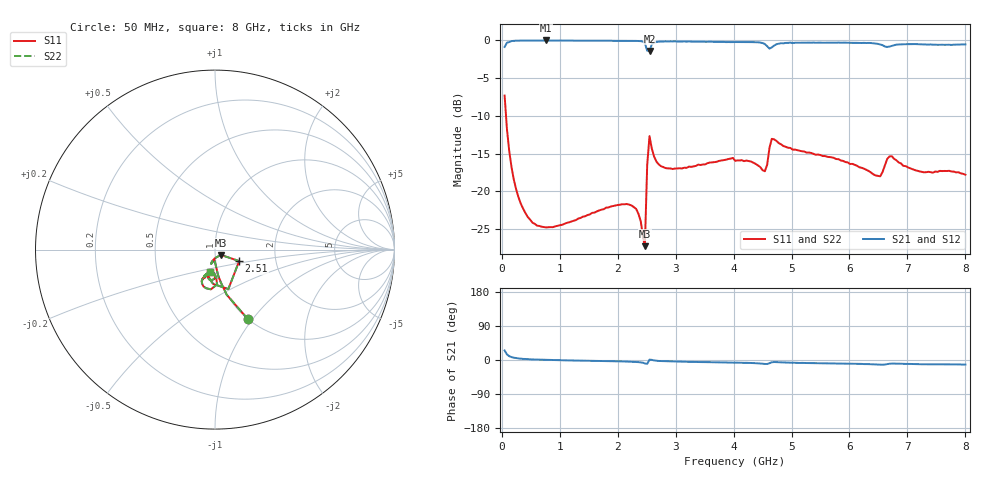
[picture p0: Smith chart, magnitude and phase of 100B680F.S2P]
!  American Technical Ceramics  Date:  3/13/98
!  One Norden Lane
!  Huntington Station,  NY.  11746-2102
!  Tel:  (516) 547-5700  Fax:  (516) 547-5748
!  Part Number  100b680f
!  Description: Porcelain, High Q, Low ESR
!  Application: Bypass, Coupling, Timing, Feedback
!  Tuning, Impedance Match, Blocking
# GHZ S DB R 50
! Freq  |S11|  S11 Ph  |S21|  S21 Ph  |S12|  S12 Ph  |S22|  S22 Ph
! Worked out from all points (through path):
!   201 points, 50 MHz to 8 GHz, reference 50 ohm
!   highest |S21| = 0.00 dB at 770 MHz (marker M1); lowest = -1.4 dB at 2.55 GHz (marker M2)
!   group delay of S21, straight-line fit = 5.41 ps
!   lowest |S11| = -27.3 dB at 2.47 GHz (marker M3), VSWR 1.09, Z = 53.2 - j3.12 ohm
!   |S11| at or under -10 dB: 74.29 MHz to end of sweep
!   |S22| runs from -27.3 to -7.3 dB; largest |S21 - S12| = 0
!   S11 on the Smith chart (normalised r, x): 50 MHz: 1.00, -0.95; 2.51 GHz: 1.30, -0.17; 8 GHz: 0.92, -0.23
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0.05  -7.31 -64.6  -0.86 25.2  -0.86 25.2  -7.31 -64.6
0.13  -14.69 -80.0  -0.21 10.1  -0.21 10.1  -14.69 -80.0
0.29  -20.82 -87.2  -0.04 4.2  -0.04 4.2  -20.82 -87.2
0.53  -24.17 -91.7  -0.02 1.4  -0.02 1.4  -24.17 -91.7
0.77  -24.80 -94.1  0.00 0.2  0.00 0.2  -24.80 -94.1
1.4  -23.38 -100.0  -0.03 -1.7  -0.03 -1.7  -23.38 -100.0
2.24  -21.89 -105.4  -0.05 -4.6  -0.05 -4.6  -21.89 -105.4
2.36  -23.01 -104.5  -0.08 -5.6  -0.08 -5.6  -23.01 -104.5
2.47  -27.29 -42.7  -0.36 -9.1  -0.36 -9.1  -27.29 -42.7
2.51  -16.54 -25.4  -1.35 -10.2  -1.35 -10.2  -16.54 -25.4
2.55  -12.69 -71.3  -1.40 0.9  -1.40 0.9  -12.69 -71.3
2.59  -14.35 -93.0  -0.51 0.4  -0.51 0.4  -14.35 -93.0
2.71  -16.45 -104.0  -0.17 -2.6  -0.17 -2.6  -16.45 -104.0
4.03  -15.97 -111.6  -0.21 -6.9  -0.21 -6.9  -15.97 -111.6
4.54  -17.35 -98.3  -0.47 -10.4  -0.47 -10.4  -17.35 -98.3
4.66  -13.05 -95.8  -0.92 -6.0  -0.92 -6.0  -13.05 -95.8
4.82  -13.78 -110.2  -0.36 -6.1  -0.36 -6.1  -13.78 -110.2
5.38  -15.04 -113.2  -0.28 -8.4  -0.28 -8.4  -15.04 -113.2
6.53  -18.02 -95.3  -0.53 -12.3  -0.53 -12.3  -18.02 -95.3
6.69  -15.38 -95.9  -0.81 -10.0  -0.81 -10.0  -15.38 -95.9
7.21  -17.37 -102.8  -0.51 -11.1  -0.51 -11.1  -17.37 -102.8
8  -17.81 -102.4  -0.52 -12.1  -0.52 -12.1  -17.81 -102.4
